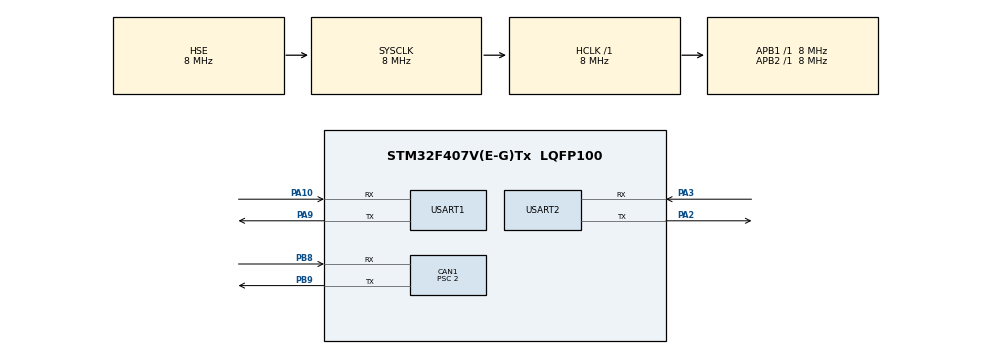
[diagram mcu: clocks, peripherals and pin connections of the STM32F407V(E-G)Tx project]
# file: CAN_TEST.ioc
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CAN1.BS1=CAN_BS1_13TQ
CAN1.BS2=CAN_BS2_2TQ
CAN1.CalculateBaudRate=250000
CAN1.CalculateTimeBit=4000
CAN1.CalculateTimeQuantum=250.0
CAN1.NART=ENABLE
CAN1.Prescaler=2
CAN1.TXFP=ENABLE
Mcu.Family=STM32F4
Mcu.Name=STM32F407V(E-G)Tx
Mcu.Package=LQFP100
NVIC.CAN1_RX0_IRQn=true\:15\:0\:true\:false\:true\:true\:true\:true
NVIC.PriorityGroup=NVIC_PRIORITYGROUP_4
NVIC.TIM6_DAC_IRQn=true\:0\:0\:true\:false\:true\:false\:true\:true
NVIC.TimeBase=TIM6_DAC_IRQn
NVIC.TimeBaseIP=TIM6
NVIC.USART1_IRQn=true\:0\:0\:false\:false\:true\:true\:true\:true
NVIC.USART2_IRQn=true\:0\:0\:false\:false\:true\:true\:true\:true
PA10.GPIO_PuPd=GPIO_NOPULL
PA10.Mode=Asynchronous
PA10.Signal=USART1_RX
PA2.Mode=Asynchronous
PA2.Signal=USART2_TX
PA3.Mode=Asynchronous
PA3.Signal=USART2_RX
PA9.GPIO_PuPd=GPIO_NOPULL
PA9.Mode=Asynchronous
PA9.Signal=USART1_TX
PB8.GPIO_PuPd=GPIO_PULLUP
PB8.Mode=CAN_Activate
PB8.Signal=CAN1_RX
PB9.GPIO_PuPd=GPIO_PULLUP
PB9.Mode=CAN_Activate
PB9.Signal=CAN1_TX
PC14-OSC32_IN.Mode=LSE-External-Oscillator
PC14-OSC32_IN.Signal=RCC_OSC32_IN
PC15-OSC32_OUT.Mode=LSE-External-Oscillator
PC15-OSC32_OUT.Signal=RCC_OSC32_OUT
PH0-OSC_IN.Mode=HSE-External-Oscillator
PH0-OSC_IN.Signal=RCC_OSC_IN
PH1-OSC_OUT.Mode=HSE-External-Oscillator
PH1-OSC_OUT.Signal=RCC_OSC_OUT
ProjectManager.HeapSize=0x200
ProjectManager.StackSize=0x400
ProjectManager.TargetToolchain=STM32CubeIDE
RCC.48MHZClocksFreq_Value=12500000
RCC.AHBFreq_Value=8000000
RCC.APB1Freq_Value=8000000
RCC.APB1TimFreq_Value=8000000
RCC.APB2Freq_Value=8000000
RCC.APB2TimFreq_Value=8000000
RCC.CortexFreq_Value=8000000
RCC.HCLKFreq_Value=8000000
RCC.HSE_VALUE=8000000
RCC.HSI_VALUE=16000000
RCC.PLLM=8
RCC.PLLN=50
RCC.PLLSourceVirtual=RCC_PLLSOURCE_HSE
RCC.SYSCLKFreq_VALUE=8000000
RCC.SYSCLKSource=RCC_SYSCLKSOURCE_HSE
RCC.VCOOutputFreq_Value=50000000
USART1.VirtualMode=VM_ASYNC
USART2.VirtualMode=VM_ASYNC
VP_SYS_VS_tim6.Mode=TIM6
board=custom

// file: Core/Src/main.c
/* USER CODE BEGIN Header */
/**
  ******************************************************************************
  * @file           : main.c
  * @brief          : Main program body
  ******************************************************************************
  * @attention
  *
  * Copyright (c) 2022 STMicroelectronics.
  * All rights reserved.
  *
  * This software is licensed under terms that can be found in the LICENSE file
  * in the root directory of this software component.
  * If no LICENSE file comes with this software, it is provided AS-IS.
  *
  ******************************************************************************
  */
/* USER CODE END Header */
#include "main.h"

/* USER CODE BEGIN PM */
extern SemaphoreHandle_t bmstransmit;
extern QueueHandle_t can_recieve;
/* USER CODE END PM */

CAN_HandleTypeDef hcan1;

UART_HandleTypeDef huart1;
UART_HandleTypeDef huart2;

void SystemClock_Config(void);
static void MX_GPIO_Init(void);
static void MX_CAN1_Init(void);
static void MX_USART1_UART_Init(void);
static void MX_USART2_UART_Init(void);

/* USER CODE BEGIN 0 */
#ifdef __GNUC__
#define PUTCHAR_PROTOTYPE int __io_putchar(int ch)
#else
#define PUTCHAR_PROTOTYPE int fputc(int ch, FILE *f)
#endif

PUTCHAR_PROTOTYPE
{
  HAL_UART_Transmit(&huart1, (uint8_t *)&ch, 1, HAL_MAX_DELAY);
  return ch;
}

/* USER CODE END 0 */

int main(void)
{

  /* MCU Configuration--------------------------------------------------------*/

  /* Reset of all peripherals, Initializes the Flash interface and the Systick. */
  HAL_Init();

  /* Configure the system clock */
  SystemClock_Config();

  /* Initialize all configured peripherals */
  MX_GPIO_Init();
  MX_CAN1_Init();
  MX_USART1_UART_Init();
  MX_USART2_UART_Init();
  /* USER CODE BEGIN 2 */
  can_init();
  BaseType_t   can_transmit,can_recieve;
  TaskHandle_t cant_handle,canr_handle;
  can_transmit = xTaskCreate(bms_can_transmit,"Transmit",1024,0,2,&cant_handle );
  configASSERT(can_transmit==pdTRUE);
  can_recieve = xTaskCreate(can_recieve_task,"CAN",1024,0,1,&canr_handle );
  configASSERT(can_recieve==pdTRUE);
  vTaskStartScheduler();

  /* USER CODE END 2 */

  /* Infinite loop */
  while (1)
  {

  }
}

void SystemClock_Config(void)
{
  RCC_OscInitTypeDef RCC_OscInitStruct = {0};
  RCC_ClkInitTypeDef RCC_ClkInitStruct = {0};

  /** Configure the main internal regulator output voltage
  */
  __HAL_RCC_PWR_CLK_ENABLE();
  __HAL_PWR_VOLTAGESCALING_CONFIG(PWR_REGULATOR_VOLTAGE_SCALE1);

  /** Initializes the RCC Oscillators according to the specified parameters
  * in the RCC_OscInitTypeDef structure.
  */
  RCC_OscInitStruct.OscillatorType = RCC_OSCILLATORTYPE_HSE;
  RCC_OscInitStruct.HSEState = RCC_HSE_ON;
  RCC_OscInitStruct.PLL.PLLState = RCC_PLL_NONE;
  if (HAL_RCC_OscConfig(&RCC_OscInitStruct) != HAL_OK)
  {
    Error_Handler();
  }

  /** Initializes the CPU, AHB and APB buses clocks
  */
  RCC_ClkInitStruct.ClockType = RCC_CLOCKTYPE_HCLK|RCC_CLOCKTYPE_SYSCLK
                              |RCC_CLOCKTYPE_PCLK1|RCC_CLOCKTYPE_PCLK2;
  RCC_ClkInitStruct.SYSCLKSource = RCC_SYSCLKSOURCE_HSE;
  RCC_ClkInitStruct.AHBCLKDivider = RCC_SYSCLK_DIV1;
  RCC_ClkInitStruct.APB1CLKDivider = RCC_HCLK_DIV1;
  RCC_ClkInitStruct.APB2CLKDivider = RCC_HCLK_DIV1;

  if (HAL_RCC_ClockConfig(&RCC_ClkInitStruct, FLASH_LATENCY_0) != HAL_OK)
  {
    Error_Handler();
  }
}

static void MX_CAN1_Init(void)
{

  hcan1.Instance = CAN1;
  hcan1.Init.Prescaler = 2;
  hcan1.Init.Mode = CAN_MODE_NORMAL;
  hcan1.Init.SyncJumpWidth = CAN_SJW_1TQ;
  hcan1.Init.TimeSeg1 = CAN_BS1_13TQ;
  hcan1.Init.TimeSeg2 = CAN_BS2_2TQ;
  hcan1.Init.TimeTriggeredMode = DISABLE;
  hcan1.Init.AutoBusOff = DISABLE;
  hcan1.Init.AutoWakeUp = DISABLE;
  hcan1.Init.AutoRetransmission = ENABLE;
  hcan1.Init.ReceiveFifoLocked = DISABLE;
  hcan1.Init.TransmitFifoPriority = ENABLE;
  if (HAL_CAN_Init(&hcan1) != HAL_OK)
  {
    Error_Handler();
  }

}

static void MX_USART1_UART_Init(void)
{

  huart1.Instance = USART1;
  huart1.Init.BaudRate = 115200;
  huart1.Init.WordLength = UART_WORDLENGTH_8B;
  huart1.Init.StopBits = UART_STOPBITS_1;
  huart1.Init.Parity = UART_PARITY_NONE;
  huart1.Init.Mode = UART_MODE_TX_RX;
  huart1.Init.HwFlowCtl = UART_HWCONTROL_NONE;
  huart1.Init.OverSampling = UART_OVERSAMPLING_16;
  if (HAL_UART_Init(&huart1) != HAL_OK)
  {
    Error_Handler();
  }

}

static void MX_USART2_UART_Init(void)
{

  huart2.Instance = USART2;
  huart2.Init.BaudRate = 115200;
  huart2.Init.WordLength = UART_WORDLENGTH_8B;
  huart2.Init.StopBits = UART_STOPBITS_1;
  huart2.Init.Parity = UART_PARITY_NONE;
  huart2.Init.Mode = UART_MODE_TX_RX;
  huart2.Init.HwFlowCtl = UART_HWCONTROL_NONE;
  huart2.Init.OverSampling = UART_OVERSAMPLING_16;
  if (HAL_UART_Init(&huart2) != HAL_OK)
  {
    Error_Handler();
  }

}

static void MX_GPIO_Init(void)
{

  /* GPIO Ports Clock Enable */
  __HAL_RCC_GPIOC_CLK_ENABLE();
  __HAL_RCC_GPIOH_CLK_ENABLE();
  __HAL_RCC_GPIOA_CLK_ENABLE();
  __HAL_RCC_GPIOB_CLK_ENABLE();

}

void HAL_TIM_PeriodElapsedCallback(TIM_HandleTypeDef *htim)
{
  if (htim->Instance == TIM6) {
    HAL_IncTick();
  }
}

void Error_Handler(void)
{
  __disable_irq();
  while (1)
  {
  }
}
